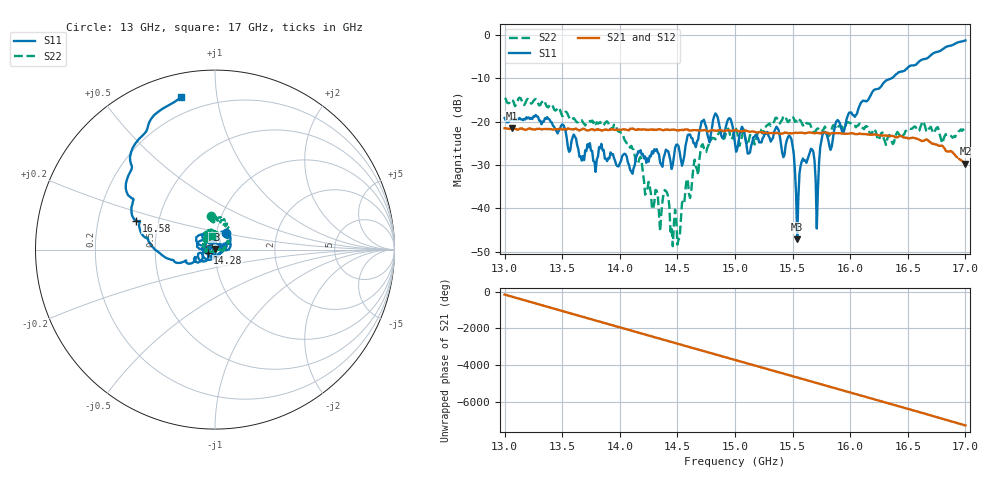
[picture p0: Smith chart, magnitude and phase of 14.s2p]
!Keysight Technologies,P9374A,MY57211807,A.19.30.04
!Date: Friday, May 01, 2026 14:44:04
!Correction: S11(C  2-Port  )
!S21(C  2-Port  )
!S12(C  2-Port  )
!S22(C  2-Port  )
!S2P File: Measurements: S11, S21, S12, S22:
# Hz S  RI  R 50
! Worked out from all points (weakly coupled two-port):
!   401 points, 13 GHz to 17 GHz, reference 50 ohm
!   highest |S21| = -21.43 dB at 13.06 GHz (marker M1); lowest = -29.7 dB at 17 GHz (marker M2)
!   lowest |S11| = -47.1 dB at 15.54 GHz (marker M3), VSWR 1.01, Z = 49.8 + j0.4 ohm
!   |S11| at or under -10 dB: start of sweep to 16.35 GHz
!   |S22| runs from -48.8 to -14.4 dB; largest |S21 - S12| = 0.0023
!   S11 on the Smith chart (normalised r, x): 13 GHz: 1.11, +0.21; 14.28 GHz: 0.92, -0.03; 16.58 GHz: 0.37, +0.15; 17 GHz: 0.11, +0.80
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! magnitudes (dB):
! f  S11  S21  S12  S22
! 13 GHz  -19.1  -21.5  -21.5  -14.6
! 13.06 GHz  -19.5  -21.4  -21.4  -14.9
! 13.51 GHz  -20.7  -21.7  -21.8  -18.6
! 13.67 GHz  -29.0  -21.8  -21.7  -19.6
! 14.01 GHz  -29.1  -21.8  -21.8  -22.5
! 14.28 GHz  -26.8  -21.9  -21.9  -40.1
! 14.34 GHz  -27.5  -21.7  -21.7  -41.2
! 14.4 GHz  -26.4  -21.9  -21.8  -36.0
! 14.51 GHz  -25.7  -22.0  -22.0  -47.2
! 14.57 GHz  -25.6  -21.8  -21.7  -35.7
! 14.71 GHz  -19.9  -22.0  -22.0  -25.4
! 14.95 GHz  -19.2  -22.0  -22.0  -22.1
! 15 GHz  -25.0  -21.9  -21.9  -21.4
! 15.47 GHz  -23.2  -22.7  -22.7  -19.9
! 15.54 GHz  -47.1  -22.6  -22.6  -19.9
! 15.58 GHz  -29.1  -22.5  -22.5  -20.3
! 15.67 GHz  -26.4  -22.5  -22.5  -21.7
! 15.71 GHz  -44.7  -22.5  -22.5  -21.7
! 15.77 GHz  -22.6  -22.5  -22.5  -21.7
! 16.34 GHz  -10.2  -23.3  -23.3  -23.1
! 16.58 GHz  -6.6  -23.9  -23.9  -21.9
! 17 GHz  -1.2  -29.7  -29.7  -22.3
